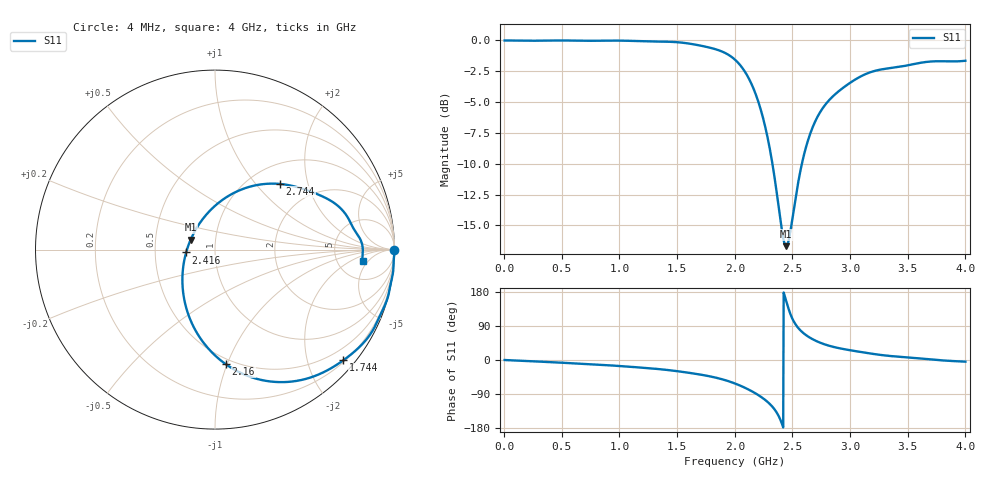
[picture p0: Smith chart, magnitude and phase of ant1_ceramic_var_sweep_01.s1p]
! TOUCHSTONE file generated by CST MICROWAVE STUDIO
! Date and time: Fri May  6 09:22:47 2022
! Project name: ant1_ceramic_sweep_10porcent.cst
! Parameters = {e=0.035; h=1.6; i=0.72; l1=0.5; l2=17; ls=80; wl=1.7; ws=30}
! Header version: 2018
! Port assignment regex: !\s*Touchstone port\s*([0-9]+)\s*=\s*(CST MWS port|CST DS port)\s*([0-9]+|Zmin|Zmax)\s*\(\"(.*)\"\)(\s*mode\s*([0-9]+))?.*
! Touchstone port assignment:
! Touchstone port 1 = CST MWS port 1 ("")
# GHz S DB R 50
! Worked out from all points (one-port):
!   1000 points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, 4 MHz to 4 GHz, reference 50 ohm
!   lowest |S11| = -16.7 dB at 2.444 GHz (marker M1), VSWR 1.34, Z = 37.8 + j4.29 ohm
!   |S11| at or under -10 dB: 2.326 GHz to 2.582 GHz (255.6 MHz wide, 10.4 % of centre)
!   S11 on the Smith chart (normalised r, x): 4 MHz: open; 1.744 GHz: 0.24, -2.67; 2.16 GHz: 0.46, -0.99; 2.416 GHz: 0.72, -0.02; 2.744 GHz: 1.36, +1.36; 4 GHz: 9.09, -3.67
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0.004  -0.00 -0.1
0.504  -0.00 -7.2
1.004  -0.01 -15.9
1.3  -0.09 -22.9
1.504  -0.14 -29.6
1.624  -0.28 -34.7
1.744  -0.50 -40.8
1.884  -0.88 -50.3
2.004  -1.58 -62.3
2.084  -2.48 -72.6
2.16  -3.85 -84.6
2.232  -5.83 -98.3
2.296  -8.40 -113.8
2.356  -11.81 -135.0
2.416  -15.83 -174.3
2.444  -16.68 157.8
2.468  -16.19 133.7
2.504  -14.18 106.2
2.56  -11.01 81.2
2.612  -8.85 67.0
2.672  -7.12 55.4
2.744  -5.76 45.2
2.852  -4.52 34.8
3.004  -3.41 25.6
3.216  -2.46 15.4
3.504  -2.01 6.7
3.7  -1.71 1.5
4  -1.65 -4.4
